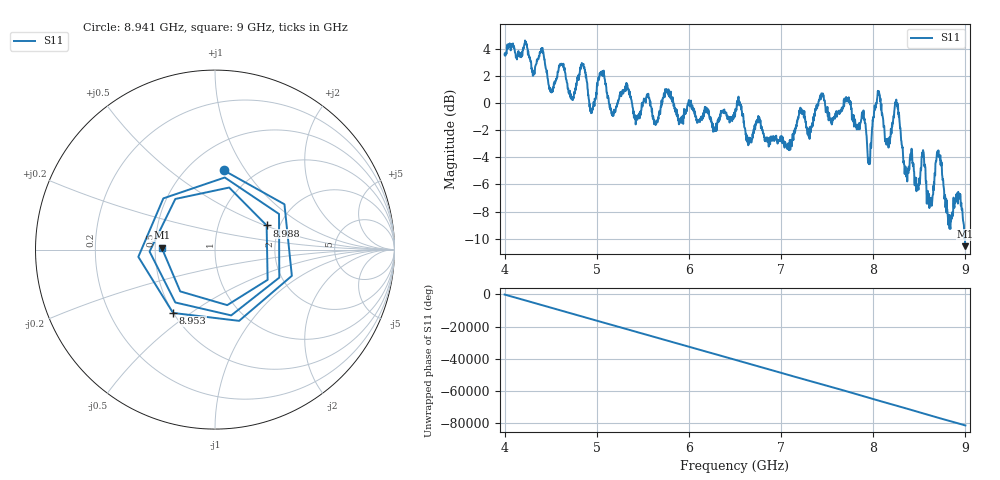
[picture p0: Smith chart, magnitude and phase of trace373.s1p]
! Created with skrf 1.8.0 (http://scikit-rf.org).
# Hz S RI R 50.0
!freq ReS11 ImS11
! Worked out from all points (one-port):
!   1601 points, 4 GHz to 9 GHz, reference 50 ohm
!   lowest |S11| = -10.5 dB at 9 GHz (marker M1), VSWR 1.85, Z = 27.1 + j0.603 ohm
!   |S11| at or under -10 dB: 8.994124 GHz to end of sweep
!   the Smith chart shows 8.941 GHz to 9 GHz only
!   S11 on the Smith chart (normalised r, x): 8.941 GHz: 0.73, +0.80; 8.953 GHz: 0.50, -0.43; 8.988 GHz: 1.71, +0.51; 9 GHz: 0.54, +0.01
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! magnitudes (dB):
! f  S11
! 4 GHz  3.6
! 4.406 GHz  4.0
! 4.506 GHz  0.9
! 4.625 GHz  2.9
! 4.728 GHz  0.5
! 4.853 GHz  2.8
! 4.944 GHz  -0.6
! 5.053 GHz  2.1
! 5.159 GHz  -0.8
! 5.25 GHz  0.6
! 5.875 GHz  -1.0
! 6.5 GHz  -1.0
! 7.125 GHz  -2.3
! 7.438 GHz  0.7
! 7.75 GHz  -0.1
! 7.956 GHz  -4.4
! 8.047 GHz  0.7
! 8.15 GHz  -2.9
! 8.256 GHz  0.0
! 8.375 GHz  -5.1
! 8.541 GHz  -3.5
! 8.619 GHz  -7.3
! 8.709 GHz  -3.5
! 8.825 GHz  -8.7
! 8.941 GHz  -7.0
! 8.953 GHz  -7.5
! 8.988 GHz  -10.0
! 9 GHz  -10.5
